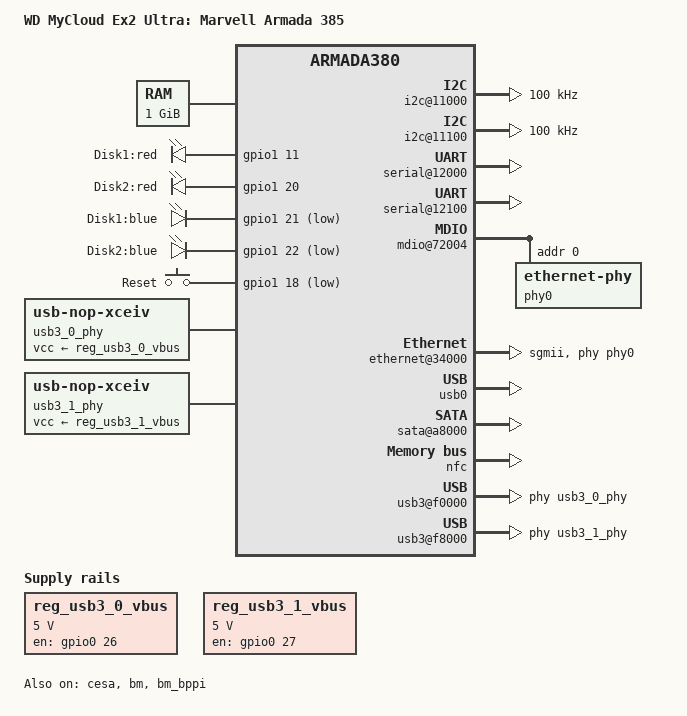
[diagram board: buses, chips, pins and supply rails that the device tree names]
/*
 * Device Tree file for Marvell Armada 375 evaluation board
 * (DB-88F6720)
 *
 *  Copyright (C) 2014 Marvell
 *
 * Gregory CLEMENT <gregory.clement@free-electrons.com>
 * Thomas Petazzoni <thomas.petazzoni@free-electrons.com>
 *
 * This file is dual-licensed: you can use it either under the terms
 * of the GPL or the X11 license, at your option. Note that this dual
 * licensing only applies to this file, and not this project as a
 * whole.
 *
 *  a) This file is free software; you can redistribute it and/or
 *     modify it under the terms of the GNU General Public License as
 *     published by the Free Software Foundation; either version 2 of the
 *     License, or (at your option) any later version.
 *
 *     This file is distributed in the hope that it will be useful,
 *     but WITHOUT ANY WARRANTY; without even the implied warranty of
 *     MERCHANTABILITY or FITNESS FOR A PARTICULAR PURPOSE.  See the
 *     GNU General Public License for more details.
 *
 * Or, alternatively,
 *
 *  b) Permission is hereby granted, free of charge, to any person
 *     obtaining a copy of this software and associated documentation
 *     files (the "Software"), to deal in the Software without
 *     restriction, including without limitation the rights to use,
 *     copy, modify, merge, publish, distribute, sublicense, and/or
 *     sell copies of the Software, and to permit persons to whom the
 *     Software is furnished to do so, subject to the following
 *     conditions:
 *
 *     The above copyright notice and this permission notice shall be
 *     included in all copies or substantial portions of the Software.
 *
 *     THE SOFTWARE IS PROVIDED "AS IS", WITHOUT WARRANTY OF ANY KIND,
 *     EXPRESS OR IMPLIED, INCLUDING BUT NOT LIMITED TO THE WARRANTIES
 *     OF MERCHANTABILITY, FITNESS FOR A PARTICULAR PURPOSE AND
 *     NONINFRINGEMENT. IN NO EVENT SHALL THE AUTHORS OR COPYRIGHT
 *     HOLDERS BE LIABLE FOR ANY CLAIM, DAMAGES OR OTHER LIABILITY,
 *     WHETHER IN AN ACTION OF CONTRACT, TORT OR OTHERWISE, ARISING
 *     FROM, OUT OF OR IN CONNECTION WITH THE SOFTWARE OR THE USE OR
 *     OTHER DEALINGS IN THE SOFTWARE.
 */

/dts-v1/;
#include <dt-bindings/gpio/gpio.h>
#include "armada-385.dtsi"

/ {
	model = "WD MyCloud Ex2 Ultra: Marvell Armada 385";
	compatible = "marvell,a385-db-ap", "marvell,armada385", "marvell,armada380";

	chosen {
		stdout-path = "serial0:115200n8";
	};

	memory@0 {
		device_type = "memory";
		reg = <0x00000000 0x40000000>; /* 512 MB */
	};

	soc {
		ranges = <MBUS_ID(0xf0, 0x01) 0 0xf1000000 0x100000
			  MBUS_ID(0x01, 0x1d) 0 0xfff00000 0x100000
			  MBUS_ID(0x09, 0x19) 0 0xf1100000 0x10000
			  MBUS_ID(0x09, 0x15) 0 0xf1110000 0x10000
			  MBUS_ID(0x0c, 0x04) 0 0xf1200000 0x100000>;

		internal-regs {
			i2c@11000 {
				status = "okay";
				clock-frequency = <100000>;
				
				/*
				eeprom@54 {
					compatible = "atmel,24c64";
					reg = <0x54>;
				};
				*/
			};

			i2c@11100 {
				status = "okay";
				clock-frequency = <100000>;
			};
			
			sdhci@d8000 {
				broken-cd;
				wp-inverted;
				bus-width = <8>;
				status = "disabled";
				no-1-8-v;
			};

			serial@12000 {
				status = "okay";
			};

			serial@12100 {
				status = "okay";
			};

			pinctrl@18000 {
			/*
				sata_sd_pins: sata-sd-pins {
					marvell,pins = "mpp63", "mpp66";
					marvell,function = "gpio";
				};
			*/
				/* use only one pin for UART1, as mpp20 is used by sata0 */
				uart1_pins: uart-pins-1 {
					marvell,pins = "mpp19";
					marvell,function = "ua1";
				};

				xhci0_vbus_pins: xhci0-vbus-pins {
					marvell,pins = "mpp26";
					marvell,function = "gpio";
				};

				xhci1_vbus_pins: xhci1-vbus-pins {
					marvell,pins = "mpp27";
					marvell,function = "gpio";
				};

				sata0_pins: sata-pins-0 {
					marvell,pins = "mpp55";
					marvell,function = "sata0";
				};

				sata1_pins: sata-pins-1 {
					marvell,pins = "mpp56";
					marvell,function = "sata1";
				};

				led_pins: led-pins {
					marvell,pins = "mpp43", "mpp52", "mpp53", "mpp54", "mpp48", "mpp58";
					marvell,function = "gpio";
				};

				btn_pins: btn-pins {
					marvell,pins = "mpp50";
					marvell,function = "gpio";
				};
			};

			mdio@72004 {
				phy0: ethernet-phy@0 {
					marvell,reg-init = <3 16 0 0x101e>;	// Init eth leds
					reg = <0>;
				};
			};

			ethernet@34000 {
				phy = <&phy0>;
				phy-mode = "sgmii";
				buffer-manager = <&bm>;
				bm,pool-long = <0>;
				bm,pool-short = <1>;
				status = "okay";
			};

			rtc@a3800 {
				status = "okay";
			};

			usb0: usb@58000 {
				status = "okay";
			};
			
			sata@a8000 {
				pinctrl-names = "default";
				//pinctrl-0 = <&sata0_pins &sata1_pins>;
				#address-cells = <1>;
				#size-cells = <0>;
				status = "okay";
				/*
				sata0: sata-port@0 {
					reg = <0>;
					target-supply = <&reg_5v_sata0>;
				};
				
				sata1: sata-port@1 {
					reg = <0>;
					target-supply = <&reg_5v_sata1>;
				};
				*/
			};
			
			nfc: flash@d0000 {
				status = "okay";
				num-cs = <1>;
				nand-ecc-strength = <4>;
				nand-ecc-step-size = <512>;
				marvell,nand-keep-config;
				marvell,nand-enable-arbiter;
				nand-on-flash-bbt;

				partitions {
					compatible = "fixed-partitions";
					#address-cells = <1>;
					#size-cells = <1>;

					partition@0 {
						label = "u-boot";
						reg = <0x0000000 0x00500000>;
						read-only;
					};

					partition@500000 {
						label = "uImage";
						reg = <0x00500000 0x00500000>;
					};

					partition@a00000 {
						label = "uRamdisk";
						reg = <0x00a00000 0x00500000>;
					};

					partition@f00000 {
						label = "image.cfs";
						reg = <0x00f00000 0x0b900000>;
					};

					partition@c800000 {
						label = "Recovery";
						reg = <0x0c800000 0x00f00000>;
					};

					partition@d70000 {
						label = "config";
						reg = <0x0d700000 0x01400000>;
					};

					partition@eb00000 {
						label = "reserve1";
						reg = <0x0eb00000 0x00a00000>;
					};

					partition@f500000 {
						label = "reserve2";
						reg = <0x0f500000 0x00a00000>;
					};
				};
			};
			
			crypto@9D000 {
				status = "okay";
			};

			usb3@f0000 {
				usb-phy = <&usb3_0_phy>;
				status = "okay";
			};

			usb3@f8000 {
				usb-phy = <&usb3_1_phy>;
				status = "okay";
			};
		};
		
		/*pcie {
			status = "okay";
			pcie@1,0 {
				status = "okay";
			};

			pcie@2,0 {
				status = "okay";
			};

			pcie@3,0 {
				status = "okay";
			};
		};
		*/
	};
	
	gpio-leds {
		compatible = "gpio-leds";
		pinctrl-names = "default";
		pinctrl-0 = <&led_pins>;

		// Triggers for kernel v4.14:
		// [none] timer oneshot disk-activity ide-disk mtd nand-disk heartbeat backlight gpio cpu cpu0 cpu1 default-on panic
		hdd1-red {
			label = "Disk1:red";
			gpios = <&gpio1 11 GPIO_ACTIVE_HIGH>;
			linux,default-trigger = "disk-activity";
		};
		hdd2-red {
			label = "Disk2:red";
			gpios = <&gpio1 20 GPIO_ACTIVE_HIGH>;
			linux,default-trigger = "panic";
		};
		hdd1-blue {
			label = "Disk1:blue";
			gpios = <&gpio1 21 GPIO_ACTIVE_LOW>;
			default-state = "keep";
			//linux,default-trigger = "gpio";
		};
		hdd2-blue {
			label = "Disk2:blue";
			gpios = <&gpio1 22 GPIO_ACTIVE_LOW>;
			default-state = "keep";
			//linux,default-trigger = "gpio";
		};
	};

	gpio-keys {
		compatible = "gpio-keys";
		pinctrl-names = "default";
		pinctrl-0 = <&btn_pins>;
		#address-cells = <1>;
		#size-cells = <0>;

		btn-reset {
			label = "Reset";
			linux,code = <0x198>; // Restart=0x198, Power=0x116
			gpios = <&gpio1 18 GPIO_ACTIVE_LOW>;
			gpio-key,wakeup;
		};
	};

	usb3_0_phy: usb3_0_phy {
		compatible = "usb-nop-xceiv";
		vcc-supply = <&reg_usb3_0_vbus>;
	};
	
	usb3_1_phy: usb3_1_phy {
		compatible = "usb-nop-xceiv";
		vcc-supply = <&reg_usb3_1_vbus>;
	};

	reg_usb3_0_vbus: usb3-vbus0 {
		compatible = "regulator-fixed";
		regulator-name = "usb3-vbus0";
		pinctrl-names = "default";
		pinctrl-0 = <&xhci0_vbus_pins>;
		regulator-min-microvolt = <5000000>;
		regulator-max-microvolt = <5000000>;
		enable-active-high;
		regulator-always-on;
		gpio = <&gpio0 26 GPIO_ACTIVE_HIGH>;
	};

	reg_usb3_1_vbus: usb3-vbus1 {
		compatible = "regulator-fixed";
		regulator-name = "usb3-vbus1";
		pinctrl-names = "default";
		pinctrl-0 = <&xhci1_vbus_pins>;
		regulator-min-microvolt = <5000000>;
		regulator-max-microvolt = <5000000>;
		enable-active-high;
		regulator-always-on;
		gpio = <&gpio0 27 GPIO_ACTIVE_HIGH>;
	};
/*
	reg_sata0: pwr-sata0 {
		compatible = "regulator-fixed";
		regulator-name = "pwr_en_sata0";
		regulator-min-microvolt = <12000000>;
		regulator-max-microvolt = <12000000>;
		enable-active-high;
		regulator-boot-on;
		gpio = <&gpio1 23 GPIO_ACTIVE_HIGH>;
	};

	reg_5v_sata0: v5-sata0 {
		compatible = "regulator-fixed";
		regulator-name = "v5.0-sata0";
		regulator-min-microvolt = <5000000>;
		regulator-max-microvolt = <5000000>;
		vin-supply = <&reg_sata0>;
	};

	reg_12v_sata0: v12-sata0 {
		compatible = "regulator-fixed";
		regulator-name = "v12.0-sata0";
		regulator-min-microvolt = <12000000>;
		regulator-max-microvolt = <12000000>;
		vin-supply = <&reg_sata0>;
	};
	
	reg_sata1: pwr-sata1 {
		compatible = "regulator-fixed";
		regulator-name = "pwr_en_sata1";
		regulator-min-microvolt = <12000000>;
		regulator-max-microvolt = <12000000>;
		enable-active-high;
		regulator-boot-on;
		gpio = <&gpio1 24 GPIO_ACTIVE_HIGH>;
	};

	reg_5v_sata1: v5-sata1 {
		compatible = "regulator-fixed";
		regulator-name = "v5.0-sata1";
		regulator-min-microvolt = <5000000>;
		regulator-max-microvolt = <5000000>;
		vin-supply = <&reg_sata1>;
	};

	reg_12v_sata1: v12-sata1 {
		compatible = "regulator-fixed";
		regulator-name = "v12.0-sata1";
		regulator-min-microvolt = <12000000>;
		regulator-max-microvolt = <12000000>;
		vin-supply = <&reg_sata1>;
	};
	*/
};
/*
&ahci0 {
	status = "okay";
};

&ahci1 {
	status = "okay";
};
*/

&cesa {
	status = "okay";
};

&bm {
	status = "okay";
};

&bm_bppi {
	status = "okay";
};
